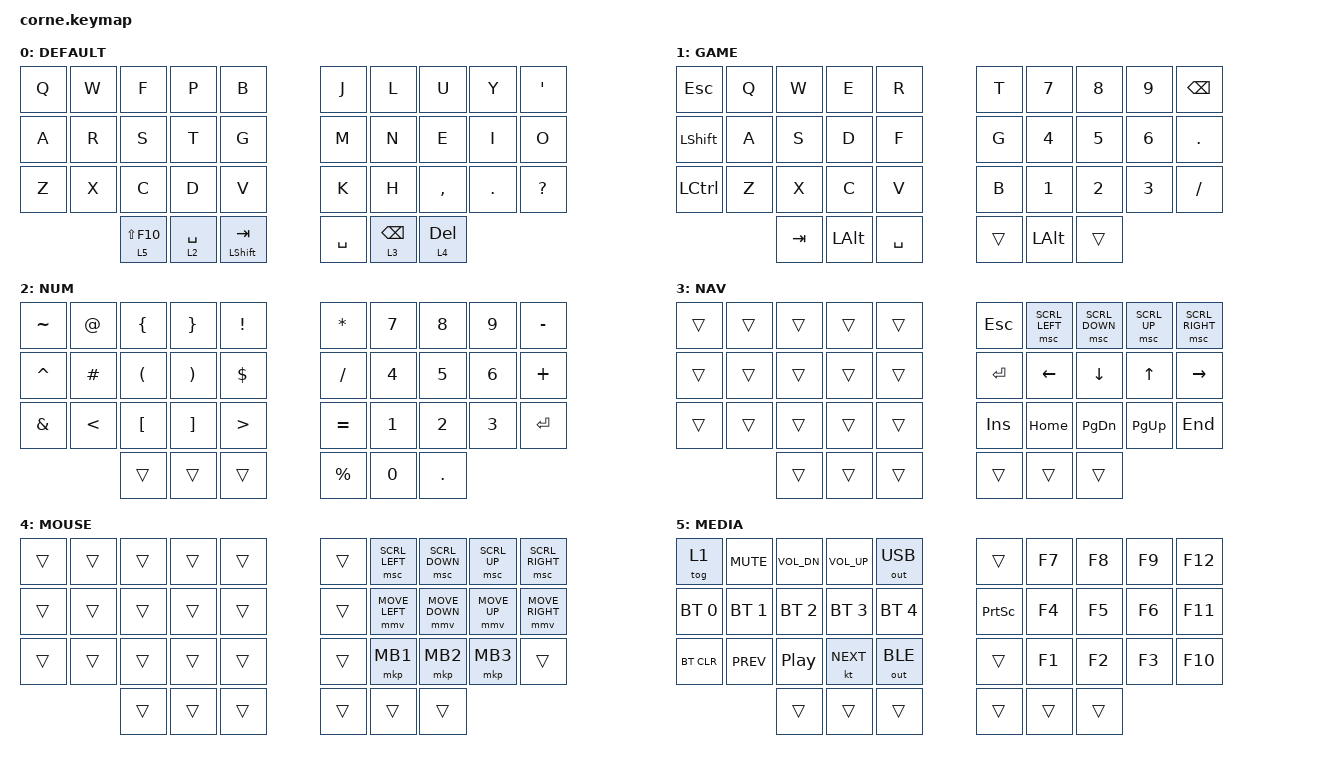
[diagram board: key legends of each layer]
/*
 * Copyright (c) 2020 The ZMK Contributors
 *
 * SPDX-License-Identifier: MIT
 */

#include <behaviors.dtsi>
#include <dt-bindings/zmk/bt.h>
#include <dt-bindings/zmk/keys.h>
#include <dt-bindings/zmk/outputs.h>
#include <dt-bindings/zmk/pointing.h>

#define DEFAULT_L 0

&lt {
    quick-tap-ms = <200>;
    tapping-term-ms = <200>;
};

/ {
    chosen { zmk,matrix_transform = &five_column_transform; };

    behaviors {
        hm: homerow_mods {
            compatible = "zmk,behavior-hold-tap";
            label = "HOMEROW_MODS";
            #binding-cells = <2>;
            tapping-term-ms = <150>;
            flavor = "tap-preferred";
            bindings = <&kp>, <&kp>;

            quick-tap-ms = <200>;
        };

        vim_i: vim_i {
            compatible = "zmk,behavior-mod-morph";
            label = "VIM_I";
            bindings = <&to 0>, <&vim_I>;

            #binding-cells = <0>;
            mods = <(MOD_LSFT|MOD_RSFT)>;
        };

        vim_o: vim_o {
            compatible = "zmk,behavior-mod-morph";
            label = "VIM_O";
            bindings = <&next_line_enter>, <&previous_line_enter>;

            #binding-cells = <0>;
            mods = <(MOD_LSFT|MOD_RSFT)>;
        };

        vim_c_r: vim_c_r {
            compatible = "zmk,behavior-mod-morph";
            label = "VIM_C_R";
            #binding-cells = <0>;
            bindings = <&none>, <&kp LG(LS(Z))>;

            mods = <(MOD_LCTL|MOD_RCTL)>;
        };

        vim_backspace: vim_backspace {
            compatible = "zmk,behavior-mod-morph";
            label = "VIM_BACKSPACE";
            bindings = <&kp LA(BACKSPACE)>, <&kp LA(DELETE)>;

            #binding-cells = <0>;
            mods = <(MOD_LALT|MOD_RALT)>;
        };

        slashandbackslash: slashandbackslash {
            compatible = "zmk,behavior-mod-morph";
            label = "SLASHANDBACKSLASH";
            bindings = <&kp SLASH>, <&kp BACKSLASH>;

            #binding-cells = <0>;
            mods = <(MOD_LALT|MOD_RALT)>;
        };

        quote: quote {
            compatible = "zmk,behavior-mod-morph";
            label = "QUOTE";
            bindings = <&kp SINGLE_QUOTE>, <&kp GRAVE>;

            #binding-cells = <0>;
            mods = <(MOD_LALT|MOD_RALT)>;
        };

        coma_semi: coma_semi {
            compatible = "zmk,behavior-mod-morph";
            label = "COMA_SEMI";
            bindings = <&kp COMMA>, <&kp SEMI>;

            #binding-cells = <0>;
            mods = <(MOD_LALT|MOD_RALT)>;
            keep-mods = <(MOD_LSFT|MOD_RSFT)>;
        };

        dot_colon: dot_colon {
            compatible = "zmk,behavior-mod-morph";
            label = "DOT_COLON";
            bindings = <&kp PERIOD>, <&kp COLON>, <&kp LA(COLON)>;

            #binding-cells = <0>;
            mods = <(MOD_LALT|MOD_RALT)>;
            keep-mods = <(MOD_LSFT|MOD_RSFT)>;
        };

        q_grave: q_grave {
            compatible = "zmk,behavior-mod-morph";
            label = "Q_GRAVE";
            bindings = <&kp Q>, <&kp GRAVE>;

            #binding-cells = <0>;
            mods = <(MOD_LALT|MOD_RALT)>;
        };

        home: home {
            compatible = "zmk,behavior-mod-morph";
            label = "HOME";
            bindings = <&kp LG(LEFT)>, <&kp HOME>;

            #binding-cells = <0>;
            mods = <(MOD_LSFT|MOD_RSFT)>;
        };

        end: end {
            compatible = "zmk,behavior-mod-morph";
            label = "END";
            bindings = <&kp LG(RIGHT)>, <&kp END>;

            #binding-cells = <0>;
            mods = <(MOD_LSFT|MOD_RALT)>;
        };

        quote_grave: quote_grave {
            compatible = "zmk,behavior-mod-morph";
            label = "QUOTE_GRAVE";
            bindings = <&kp SINGLE_QUOTE>, <&kp GRAVE>;

            #binding-cells = <0>;
            mods = <(MOD_LALT|MOD_RALT)>;
        };

        hm_quotes: hm_quotes {
            compatible = "zmk,behavior-hold-tap";
            label = "HM_QUOTES";
            bindings = <&kp>, <&quote_grave>;

            #binding-cells = <2>;
            tapping-term-ms = <200>;
            quick-tap-ms = <200>;
            flavor = "tap-preferred";
        };

        dot_comma: dot_comma {
            compatible = "zmk,behavior-mod-morph";
            label = "DOT_COMMA";
            bindings = <&kp DOT>, <&kp COMMA>;

            #binding-cells = <0>;
            mods = <(MOD_LSFT|MOD_RSFT)>;
        };

        multiply: multiply {
            compatible = "zmk,behavior-mod-morph";
            label = "MULTIPLY";
            bindings = <&kp ASTERISK>, <&kp LEFT_BRACE>;

            #binding-cells = <0>;
            mods = <(MOD_LSFT|MOD_RSFT)>;
        };

        divide: divide {
            compatible = "zmk,behavior-mod-morph";
            label = "divide";
            bindings = <&kp SLASH>, <&kp LEFT_PARENTHESIS>;

            #binding-cells = <0>;
            mods = <(MOD_LSFT|MOD_RSFT)>;
        };

        num_7: num_7 {
            compatible = "zmk,behavior-mod-morph";
            label = "num_7";
            bindings = <&kp N7>, <&kp RIGHT_BRACE>;

            #binding-cells = <0>;
            mods = <(MOD_LSFT|MOD_RSFT)>;
        };

        equals_thic_arrow: equals_thic_arrow {
            compatible = "zmk,behavior-mod-morph";
            label = "EQUALS_THIC_ARROW";
            bindings = <&kp EQUAL>, <&thic_arrow>;

            #binding-cells = <0>;
            mods = <(MOD_LSFT|MOD_RSFT)>;
        };

        num_0: num_0 {
            compatible = "zmk,behavior-mod-morph";
            label = "NUM_0";
            #binding-cells = <0>;
            mods = <(MOD_LSFT|MOD_RSFT)>;
            bindings = <&kp N0>, <&kp LEFT_BRACKET>;
        };

        num_1: num_1 {
            compatible = "zmk,behavior-mod-morph";
            label = "NUM_1";
            #binding-cells = <0>;
            mods = <(MOD_LSFT|MOD_RSFT)>;
            bindings = <&kp N1>, <&kp RIGHT_BRACKET>;
        };

        num_2: num_2 {
            compatible = "zmk,behavior-mod-morph";
            label = "NUM_2";
            #binding-cells = <0>;
            mods = <(MOD_LSFT|MOD_RSFT)>;
            bindings = <&kp N2>, <&kp COMMA>;
        };

        num_3: num_3 {
            compatible = "zmk,behavior-mod-morph";
            label = "NUM_3";
            #binding-cells = <0>;
            mods = <(MOD_LSFT|MOD_RSFT)>;
            bindings = <&kp N3>, <&kp DOT>;
        };

        num_5: num_5 {
            compatible = "zmk,behavior-mod-morph";
            label = "NUM_5";
            #binding-cells = <0>;
            mods = <(MOD_LSFT)>;
            bindings = <&hm RIGHT_GUI N5>, <&kp LT>;
        };

        num_6: num_6 {
            compatible = "zmk,behavior-mod-morph";
            label = "NUM_6";
            #binding-cells = <0>;
            mods = <(MOD_LSFT)>;
            bindings = <&hm RIGHT_ALT NUMBER_6>, <&kp GT>;
        };

        hm_quote_minus: hm_quote_minus {
            compatible = "zmk,behavior-mod-morph";
            label = "HM_QUOTE_MINUS";
            #binding-cells = <0>;
            mods = <(MOD_LSFT)>;
            bindings = <&hm RCTRL MINUS>, <&kp DOUBLE_QUOTES>;
        };

        num_4: num_4 {
            compatible = "zmk,behavior-mod-morph";
            label = "NUM_4";
            bindings = <&hm RIGHT_SHIFT N4>, <&kp RIGHT_PARENTHESIS>;

            #binding-cells = <0>;
            mods = <(MOD_LSFT)>;
        };

        always_tilde: always_tilde {
            compatible = "zmk,behavior-mod-morph";
            label = "ALWAYS_TILDE";
            bindings = <&kp LA(N)>, <&kp LA(N)>;

            #binding-cells = <0>;
            mods = <(MOD_LSFT|MOD_RSFT)>;
        };

        num_8: num_8 {
            compatible = "zmk,behavior-mod-morph";
            label = "NUM_8";
            bindings = <&kp N8>, <&kp LA(LS(NUMBER_2))>;

            #binding-cells = <0>;
            mods = <(MOD_LSFT|MOD_RSFT)>;
        };

        w_euro: w_euro {
            compatible = "zmk,behavior-mod-morph";
            label = "W_EURO";
            bindings = <&kp W>, <&kp LS(LA(NUMBER_2))>;

            #binding-cells = <0>;
            mods = <(MOD_LALT|MOD_RALT)>;
        };

        a_grave_ctrl: a_grave_ctrl {
            compatible = "zmk,behavior-mod-morph";
            label = "A_GRAVE_CTRL";
            bindings = <&hm LCTRL A>, <&kp A>;

            #binding-cells = <0>;
            mods = <(MOD_LALT|MOD_RALT)>;
        };

        always_grave: always_grave {
            compatible = "zmk,behavior-mod-morph";
            label = "ALWAYS_GRAVE";
            bindings = <&kp GRAVE>, <&kp GRAVE>;

            #binding-cells = <0>;
            mods = <(MOD_LSFT|MOD_RSFT)>;
        };

        always_acute: always_acute {
            compatible = "zmk,behavior-mod-morph";
            label = "ALWAYS_ACUTE";
            bindings = <&kp LA(E)>, <&kp LA(E)>;

            #binding-cells = <0>;
            mods = <(MOD_LALT|MOD_LSFT|MOD_RSFT)>;
        };

        always_circ: always_circ {
            compatible = "zmk,behavior-mod-morph";
            label = "ALWAYS_CIRC";
            bindings = <&kp LA(I)>, <&kp LA(I)>;

            #binding-cells = <0>;
            mods = <(MOD_LSFT|MOD_RSFT)>;
        };

        cmd_num_4: cmd_num_4 {
            compatible = "zmk,behavior-mod-morph";
            label = "CMD_NUM_4";
            bindings = <&num_4>, <&kp NUMBER_4>;

            #binding-cells = <0>;
            mods = <(MOD_LGUI|MOD_RGUI)>;
            keep-mods = <(MOD_RGUI|MOD_LGUI)>;
        };

        cmd_num_5: cmd_num_5 {
            compatible = "zmk,behavior-mod-morph";
            label = "CMD_NUM_5";
            bindings = <&num_5>, <&kp N5>;

            #binding-cells = <0>;
            mods = <(MOD_LGUI|MOD_RGUI)>;
            keep-mods = <(MOD_RGUI|MOD_LGUI)>;
        };

        cmd_num_1: cmd_num_1 {
            compatible = "zmk,behavior-mod-morph";
            label = "CMD_NUM_1";
            bindings = <&num_1>, <&kp NUMBER_1>;

            #binding-cells = <0>;
            mods = <(MOD_LGUI|MOD_RGUI)>;
            keep-mods = <(MOD_RGUI|MOD_LGUI)>;
        };

        cmd_num_3: cmd_num_3 {
            compatible = "zmk,behavior-mod-morph";
            label = "CMD_NUM_3";
            bindings = <&num_3>, <&kp NUMBER_3>;

            #binding-cells = <0>;
            mods = <(MOD_LGUI|MOD_RGUI)>;
            keep-mods = <(MOD_RGUI|MOD_LGUI)>;
        };

        cmd_num_2: cmd_num_2 {
            compatible = "zmk,behavior-mod-morph";
            label = "CMD_NUM_2";
            bindings = <&num_2>, <&kp NUMBER_2>;

            #binding-cells = <0>;
            mods = <(MOD_LGUI|MOD_RGUI)>;
            keep-mods = <(MOD_RGUI|MOD_LGUI)>;
        };

        cmd_num_6: cmd_num_6 {
            compatible = "zmk,behavior-mod-morph";
            label = "CMD_NUM_6";
            bindings = <&num_6>, <&kp NUMBER_6>;

            #binding-cells = <0>;
            mods = <(MOD_LGUI|MOD_RGUI)>;
            keep-mods = <(MOD_RGUI|MOD_LGUI)>;
        };

        cmd_num_7: cmd_num_7 {
            compatible = "zmk,behavior-mod-morph";
            label = "CMD_NUM_7";
            bindings = <&num_7>, <&kp N7>;

            #binding-cells = <0>;
            mods = <(MOD_LGUI|MOD_RGUI)>;
            keep-mods = <(MOD_RGUI|MOD_LGUI)>;
        };

        cmd_num_8: cmd_num_8 {
            compatible = "zmk,behavior-mod-morph";
            label = "CMD_NUM_8";
            bindings = <&num_8>, <&kp N8>;

            #binding-cells = <0>;
            mods = <(MOD_LGUI|MOD_RGUI)>;
            keep-mods = <(MOD_RGUI|MOD_LGUI)>;
        };

        cmd_w_euro: cmd_w_euro {
            compatible = "zmk,behavior-mod-morph";
            label = "CMD_W_EURO";
            bindings = <&w_euro>, <&kp W>;

            #binding-cells = <0>;
            mods = <(MOD_LGUI|MOD_RGUI|MOD_LCTL|MOD_LSFT|MOD_RCTL|MOD_RSFT)>;
            keep-mods = <(MOD_LCTL|MOD_LSFT|MOD_LALT|MOD_LGUI|MOD_RALT|MOD_RGUI|MOD_RSFT|MOD_RCTL)>;
        };

        shift_tap: shift_tap {
            compatible = "zmk,behavior-hold-tap";
            label = "SHIFT_TAP";
            bindings = <&kp>, <&kp>;

            #binding-cells = <2>;
            tapping-term-ms = <150>;
            flavor = "tap-preferred";
            quick-tap-ms = <200>;
        };

        plus_gte: plus_gte {
            compatible = "zmk,behavior-mod-morph";
            label = "PLUS_GTE";
            bindings = <&kp PLUS>, <&gte>;

            #binding-cells = <0>;
            mods = <(MOD_LSFT|MOD_RSFT)>;
        };

        minus_lte: minus_lte {
            compatible = "zmk,behavior-mod-morph";
            label = "MINUS_LTE";
            bindings = <&kp MINUS>, <&lte>;

            #binding-cells = <0>;
            mods = <(MOD_LSFT|MOD_RSFT)>;
        };

        p_question: p_question {
            compatible = "zmk,behavior-mod-morph";
            label = "P_QUESTION";
            bindings = <&kp P>, <&kp QUESTION>;

            #binding-cells = <0>;
            mods = <(MOD_LALT|MOD_RALT)>;
        };

        switch_layout: switch_layout {
            compatible = "zmk,behavior-tap-dance";
            label = "SWITCH_LAYOUT";
            #binding-cells = <0>;
            bindings = <&to 0>, <&to 0>;
        };
    };

    combos {
        compatible = "zmk,combos";

        c_dash {
            bindings = <&kp MINUS>;
            key-positions = <13 16>;
        };

        c_underscore {
            bindings = <&kp UNDER>;
            key-positions = <23 26>;
        };
    };

    keymap {
        compatible = "zmk,keymap";

        DEFAULT {
            bindings = <
  &kp Q  &kp W  &kp F          &kp P        &kp B                 &kp J      &kp L            &kp U      &kp Y    &kp SQT
  &kp A  &kp R  &kp S          &kp T        &kp G                 &kp M      &kp N            &kp E      &kp I    &kp O
  &kp Z  &kp X  &kp C          &kp D        &kp V                 &kp K      &kp H            &kp COMMA  &kp DOT  &kp QMARK
                &lt 5 LS(F10)  &lt 2 SPACE  &mt LEFT_SHIFT TAB    &kp SPACE  &lt 3 BACKSPACE  &lt 4 DEL
            >;
        };

        GAME {
            bindings = <
  &kp ESC    &kp Q  &kp W    &kp E     &kp R        &kp T   &kp N7        &kp N8  &kp N9  &kp BACKSPACE
  &kp LSHFT  &kp A  &kp S    &kp D     &kp F        &kp G   &kp N4        &kp N5  &kp N6  &kp DOT
  &kp LCTRL  &kp Z  &kp X    &kp C     &kp V        &kp B   &kp N1        &kp N2  &kp N3  &kp FSLH
                    &kp TAB  &kp LALT  &kp SPACE    &trans  &kp LEFT_ALT  &trans
            >;
        };

        NUM {
            bindings = <
  &kp TILDE  &kp AT    &kp LBRC          &kp RBRC           &kp EXCL    &kp STAR   &kp N7  &kp N8   &kp N9  &kp MINUS
  &kp CARET  &kp HASH  &kp LPAR          &kp RPAR           &kp DLLR    &kp FSLH   &kp N4  &kp N5   &kp N6  &kp PLUS
  &kp AMPS   &kp LT    &kp LEFT_BRACKET  &kp RIGHT_BRACKET  &kp GT      &kp EQUAL  &kp N1  &kp N2   &kp N3  &kp RET
                       &trans            &trans             &trans      &kp PRCNT  &kp N0  &kp DOT
            >;
        };

        NAV {
            bindings = <
  &trans  &trans  &trans  &trans  &trans    &kp ESC    &msc SCRL_LEFT  &msc SCRL_DOWN  &msc SCRL_UP  &msc SCRL_RIGHT
  &trans  &trans  &trans  &trans  &trans    &kp ENTER  &kp LEFT        &kp DOWN        &kp UP        &kp RIGHT
  &trans  &trans  &trans  &trans  &trans    &kp INS    &kp HOME        &kp PAGE_DOWN   &kp PG_UP     &kp END
                  &trans  &trans  &trans    &trans     &trans          &trans
            >;
        };

        MOUSE {
            bindings = <
  &trans  &trans  &trans  &trans  &trans    &trans  &msc SCRL_LEFT  &msc SCRL_DOWN  &msc SCRL_UP  &msc SCRL_RIGHT
  &trans  &trans  &trans  &trans  &trans    &trans  &mmv MOVE_LEFT  &mmv MOVE_DOWN  &mmv MOVE_UP  &mmv MOVE_RIGHT
  &trans  &trans  &trans  &trans  &trans    &trans  &mkp MB1        &mkp MB2        &mkp MB3      &trans
                  &trans  &trans  &trans    &trans  &trans          &trans
            >;
        };

        MEDIA {
            bindings = <
  &tog 1        &kp C_MUTE    &kp C_VOL_DN  &kp C_VOL_UP  &out OUT_USB    &trans           &kp F7  &kp F8  &kp F9  &kp F12
  &bt BT_SEL 0  &bt BT_SEL 1  &bt BT_SEL 2  &bt BT_SEL 3  &bt BT_SEL 4    &kp PRINTSCREEN  &kp F4  &kp F5  &kp F6  &kp F11
  &bt BT_CLR    &kp C_PREV    &kp C_PP      &kt C_NEXT    &out OUT_BLE    &trans           &kp F1  &kp F2  &kp F3  &kp F10
                              &trans        &trans        &trans          &trans           &trans  &trans
            >;
        };
    };
};
